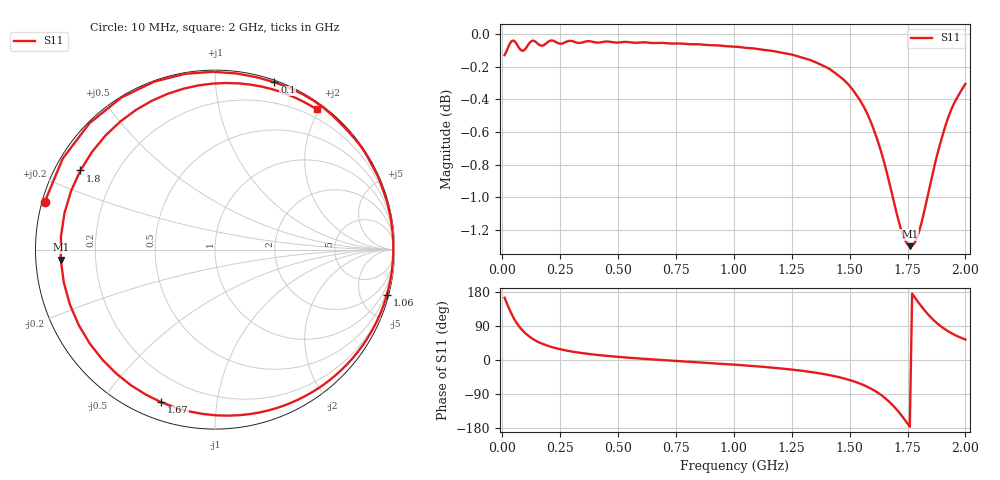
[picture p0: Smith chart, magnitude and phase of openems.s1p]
! H_s8_cap_20: PDN loop: BGA pin field to a 0402 capacitor 20 mm away
! stackup: 8-layer 1.6 mm FR-4 (generic)
! ports: 1 IC pins
! openEMS 0.37.0, staircase, fine mesh (dfine 0.035 mm), 2569280 cells
# Hz S RI R 1
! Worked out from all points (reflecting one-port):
!   200 points, 10 MHz to 2 GHz, reference 1 ohm
!   lowest |S11| = -1.3 dB at 1.76 GHz (marker M1), VSWR 13.40, Z = 0.0747 - j0.0325 ohm
!   phase of S11 starts at 164 deg and turns -470 deg over the sweep
!   S11 on the Smith chart (normalised r, x): 10 MHz: 0.01, +0.14; 100 MHz: 0.02, +1.42; 1.06 GHz: 0.30, -7.67; 1.67 GHz: 0.08, -0.70; 1.8 GHz: 0.07, +0.27; 2 GHz: 0.08, +1.95
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1e7  -0.9485 0.2661
3e7  -0.6995 0.7039
5e7  -0.3392 0.9357
7e7  -0.0111 0.9907
1e8  0.3312 0.9324
1.3e8  0.5523 0.828
1.6e8  0.6873 0.7156
2.6e8  0.8845 0.452
3.8e8  0.9589 0.2648
5.1e8  0.9851 0.1333
7.6e8  0.9921 -0.0488
1.01e9  0.9671 -0.2165
1.06e9  0.9571 -0.2534
1.26e9  0.8855 -0.4316
1.41e9  0.7524 -0.6214
1.51e9  0.5553 -0.7857
1.59e9  0.2459 -0.9077
1.63e9  0.00483 -0.9233
1.67e9  -0.3014 -0.8495
1.71e9  -0.6267 -0.6141
1.74e9  -0.8081 -0.3071
1.76e9  -0.8593 -0.0562
1.78e9  -0.8387 0.203
1.8e9  -0.7498 0.4413
1.84e9  -0.4396 0.7787
1.88e9  -0.0917 0.9148
1.94e9  0.3139 0.895
2e9  0.5658 0.7823
